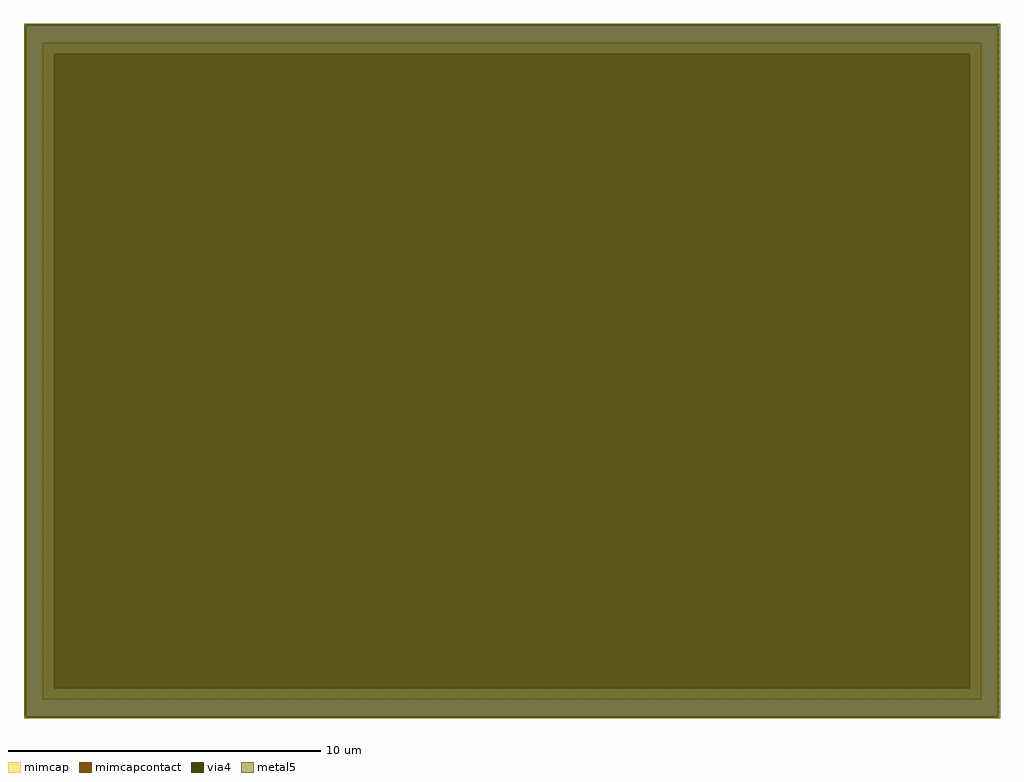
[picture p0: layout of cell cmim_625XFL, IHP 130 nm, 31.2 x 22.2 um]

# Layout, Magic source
magic
tech ihp-sg13g2
magscale 1 2
<< via4 >>
rect -3110 -2210 3110 2210
<< metal5 >>
rect -3120 2210 3120 2220
rect -3120 -2210 -3110 2210
rect 3110 -2210 3120 2210
rect -3120 -2220 3120 -2210
<< mimcap >>
rect -3000 2028 3000 2100
rect -3000 -2028 -2928 2028
rect 2928 -2028 3000 2028
rect -3000 -2100 3000 -2028
<< mimcapcontact >>
rect -2928 -2028 2928 2028
<< properties >>
string gencell cmim
string library sg13g2_devstdin
string parameters w 30 l 21 nx 1 dx -0.6 ny 1 dy -0.6 wmin 1.14 lmin 1.14 class capacitor topcc 100 botcc 100
<< end >>
